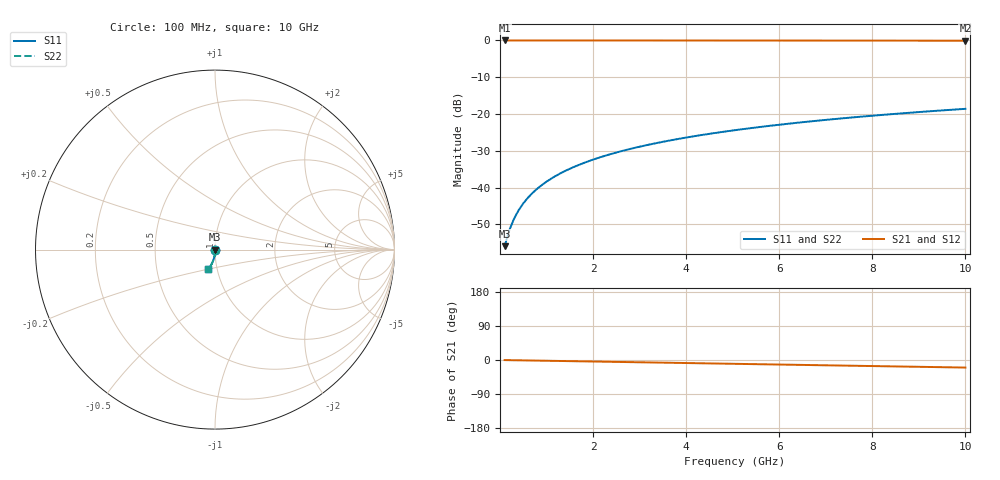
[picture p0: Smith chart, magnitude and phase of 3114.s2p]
# Hz S RI R 50.00
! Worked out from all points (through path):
!   100 points, 100 MHz to 10 GHz, reference 50 ohm
!   highest |S21| = -0.01 dB at 100 MHz (marker M1); lowest = -0.1 dB at 10 GHz (marker M2)
!   group delay of S21, straight-line fit = 5.55 ps
!   lowest |S11| = -55.9 dB at 100 MHz (marker M3), VSWR 1.00, Z = 50.1 - j0.121 ohm
!   |S11| at or under -10 dB: start of sweep to end of sweep
!   |S22| runs from -55.9 to -18.6 dB; largest |S21 - S12| = 0
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1e8  0.00106 -0.0012  0.9989 -0.00348  0.9989 -0.00348  0.00106 -0.0012
2e8  0.00105 -0.00241  0.9989 -0.00697  0.9989 -0.00697  0.00105 -0.00241
3e8  0.00103 -0.00361  0.9989 -0.0105  0.9989 -0.0105  0.00103 -0.00361
4e8  0.001 -0.00481  0.9988 -0.0139  0.9988 -0.0139  0.001 -0.00481
5e8  0.000966 -0.00601  0.9987 -0.0174  0.9987 -0.0174  0.000966 -0.00601
6e8  0.000921 -0.00721  0.9987 -0.0209  0.9987 -0.0209  0.000921 -0.00721
7e8  0.000867 -0.00842  0.9986 -0.0244  0.9986 -0.0244  0.000867 -0.00842
8e8  0.000805 -0.00962  0.9985 -0.0279  0.9985 -0.0279  0.000805 -0.00962
9e8  0.000734 -0.0108  0.9983 -0.0313  0.9983 -0.0313  0.000734 -0.0108
1.1e9  0.000567 -0.0132  0.9981 -0.0383  0.9981 -0.0383  0.000567 -0.0132
1.4e9  0.000253 -0.0168  0.9975 -0.0487  0.9975 -0.0487  0.000253 -0.0168
1.8e9  -0.000284 -0.0216  0.9966 -0.0627  0.9966 -0.0627  -0.000284 -0.0216
2.1e9  -0.000774 -0.0252  0.9958 -0.0731  0.9958 -0.0731  -0.000774 -0.0252
2.5e9  -0.00154 -0.0299  0.9946 -0.0869  0.9946 -0.0869  -0.00154 -0.0299
2.9e9  -0.00245 -0.0347  0.9931 -0.1008  0.9931 -0.1008  -0.00245 -0.0347
3.4e9  -0.00376 -0.0405  0.9909 -0.1181  0.9909 -0.1181  -0.00376 -0.0405
4.2e9  -0.00629 -0.0498  0.9868 -0.1456  0.9868 -0.1456  -0.00629 -0.0498
5.1e9  -0.00974 -0.0601  0.9811 -0.1764  0.9811 -0.1764  -0.00974 -0.0601
5.9e9  -0.0133 -0.069  0.9752 -0.2036  0.9752 -0.2036  -0.0133 -0.069
6.7e9  -0.0174 -0.0778  0.9684 -0.2305  0.9684 -0.2305  -0.0174 -0.0778
8.4e9  -0.0277 -0.0954  0.9513 -0.2868  0.9513 -0.2868  -0.0277 -0.0954
1e10  -0.0392 -0.1108  0.932 -0.3386  0.932 -0.3386  -0.0392 -0.1108
